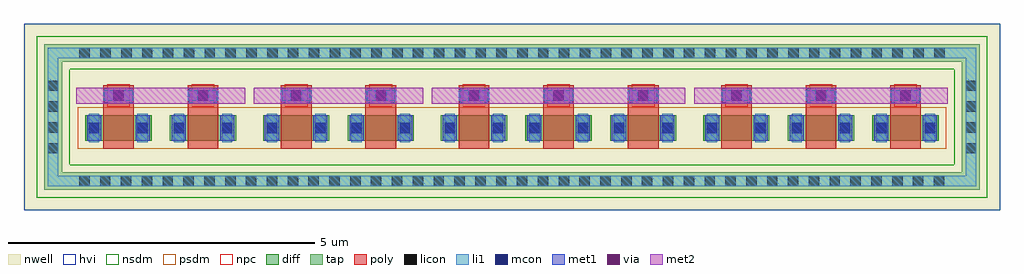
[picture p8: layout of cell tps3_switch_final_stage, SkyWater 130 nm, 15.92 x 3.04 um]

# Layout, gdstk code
import gdstk
lib = gdstk.Library(unit=1e-6, precision=1e-09)
def R(c, l, rs):  # rectangles x0, y0, x1, y1
    for r in rs: c.add(gdstk.rectangle(r[:2], r[2:], *l))
def A(c, l, x, y, w, h, nx, ny, dx, dy):  # array of equal rectangles
    R(c, l, [(x+i*dx, y+j*dy, x+i*dx+w, y+j*dy+h) for i in range(nx) for j in range(ny)])
nwell = (64, 20)
diff = (65, 20)
tap = (65, 44)
poly = (66, 20)
licon = (66, 44)
li1 = (67, 20)
mcon = (67, 44)
met1 = (68, 20)
via = (68, 44)
met2 = (69, 20)
hvi = (75, 20)
nsdm = (93, 44)
psdm = (94, 20)
npc = (95, 20)

sky130_fd_pr__pfet_g5v0d = lib.new_cell('sky130_fd_pr__pfet_g5v0d10v5_WJ97JY')
R(sky130_fd_pr__pfet_g5v0d, nwell, [(-0.72,-0.7,0.72,0.53)])
R(sky130_fd_pr__pfet_g5v0d, diff, [(-0.54,-0.39,0.54,0.03)])
R(sky130_fd_pr__pfet_g5v0d, poly, [(-0.25,-0.52,0.25,0.515)])
R(sky130_fd_pr__pfet_g5v0d, licon, [(-0.48,-0.265,-0.31,-0.095), (0.31,-0.265,0.48,-0.095), (-0.085,0.265,0.085,0.435)])
R(sky130_fd_pr__pfet_g5v0d, li1, [(-0.48,-0.41,-0.31,0.05), (0.31,-0.41,0.48,0.05), (-0.25,0.265,0.25,0.435)])
R(sky130_fd_pr__pfet_g5v0d, mcon, [(-0.48,-0.265,-0.31,-0.095), (0.31,-0.265,0.48,-0.095), (-0.085,0.265,0.085,0.435)])
R(sky130_fd_pr__pfet_g5v0d, met1, [(-0.51,-0.39,-0.28,0.03), (0.28,-0.39,0.51,0.03), (-0.23,0.235,0.23,0.465)])
R(sky130_fd_pr__pfet_g5v0d, hvi, [(-0.72,-0.7,0.72,-0.6), (-1.145,-0.6,1.145,0.24), (-0.72,0.24,0.72,0.53)])
R(sky130_fd_pr__pfet_g5v0d, psdm, [(-0.665,-0.515,0.665,0.155)])
R(sky130_fd_pr__pfet_g5v0d, npc, [(-0.185,0.165,0.185,0.535)])

hpmos_1 = lib.new_cell('hpmos_1')
R(hpmos_1, met1, [(9.99,-15.165,10.31,-14.905)])
R(hpmos_1, via, [(10.075,-15.11,10.225,-14.96)])
R(hpmos_1, met2, [(9.46,-15.165,10.84,-14.905)])
hpmos_1.add(gdstk.Reference(sky130_fd_pr__pfet_g5v0d, (10.15,-15.385)))

hpmos_2 = lib.new_cell('hpmos_2')
R(hpmos_2, psdm, [(12.36,-15.745,12.41,-15.075)])
hpmos_2.add(gdstk.Reference(hpmos_1, (2.925,0.155)))
hpmos_2.add(gdstk.Reference(hpmos_1, (1.545,0.155)))

tps3_switch_final_stage = lib.new_cell('tps3_switch_final_stage')
R(tps3_switch_final_stage, nwell, [(-6.54,-0.83,9.38,2.21)])
R(tps3_switch_final_stage, tap, [(-6.21,-0.5,9.05,-0.21), (-6.21,-0.21,-5.92,1.59), (8.76,-0.21,9.05,1.59), (-6.21,1.59,9.05,1.88)])
A(tps3_switch_final_stage, licon, -5.64, -0.44, 0.17, 0.17, 42, 1, 0.34, 0)
A(tps3_switch_final_stage, licon, -6.15, 0.095, 0.17, 0.17, 1, 4, 0, 0.34)
A(tps3_switch_final_stage, licon, 8.82, 0.095, 0.17, 0.17, 1, 4, 0, 0.34)
A(tps3_switch_final_stage, licon, -5.635, 1.65, 0.17, 0.17, 42, 1, 0.34, 0)
R(tps3_switch_final_stage, li1, [(-6.15,-0.44,8.99,-0.27), (-6.15,-0.27,-5.98,1.65), (8.82,-0.27,8.99,1.65), (-6.15,1.65,8.99,1.82)])
R(tps3_switch_final_stage, hvi, [(-6.54,-0.83,9.38,2.21)])
R(tps3_switch_final_stage, nsdm, [(-6.335,-0.625,9.175,-0.085), (-6.335,-0.085,-5.795,1.465), (8.635,-0.085,9.175,1.465), (-6.335,1.465,9.175,2.005)])
R(tps3_switch_final_stage, psdm, [(-2.955,0.175,-2.765,0.845), (-0.055,0.175,0.135,0.845), (2.845,0.175,2.895,0.845), (4.225,0.175,4.415,0.845), (7.125,0.175,7.175,0.845)])
tps3_switch_final_stage.add(gdstk.Reference(hpmos_2, (-16.695,15.92)))
tps3_switch_final_stage.add(gdstk.Reference(hpmos_2, (-13.795,15.92)))
tps3_switch_final_stage.add(gdstk.Reference(hpmos_2, (-6.615,15.92)))
tps3_switch_final_stage.add(gdstk.Reference(hpmos_2, (-10.895,15.92)))
tps3_switch_final_stage.add(gdstk.Reference(hpmos_1, (-6.59,16.075)))
tps3_switch_final_stage.add(gdstk.Reference(hpmos_1, (-2.31,16.075)))

lib.write_gds('tps3_switch_final_stage.gds')
